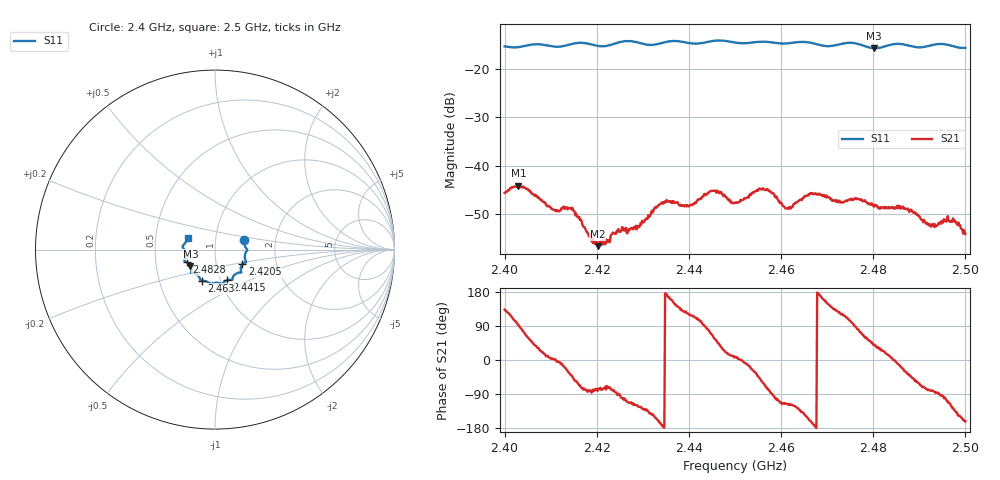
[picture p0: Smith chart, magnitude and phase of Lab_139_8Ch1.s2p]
# Hz S RI R 50
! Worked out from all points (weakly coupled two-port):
!   601 points, 2.4 GHz to 2.5 GHz, reference 50 ohm
!   highest |S21| = -44.12 dB at 2.403 GHz (marker M1); lowest = -56.7 dB at 2.4202 GHz (marker M2)
!   lowest |S11| = -15.7 dB at 2.4802 GHz (marker M3), VSWR 1.39, Z = 37.4 - j6.97 ohm
!   |S11| at or under -10 dB: start of sweep to end of sweep
!   S12 and S22 are empty: the file has one direction only
!   S11 on the Smith chart (normalised r, x): 2.4 GHz: 1.38, +0.15; 2.4205 GHz: 1.34, -0.22; 2.4415 GHz: 1.07, -0.38; 2.463 GHz: 0.82, -0.29; 2.4828 GHz: 0.72, -0.10; 2.5 GHz: 0.73, +0.10
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2.4e9  0.1636 0.0521  -0.00355 0.00385  0 0  0 0
2.403e9  0.1673 0.0188  -0.000191 0.00622  0 0  0 0
2.410833e9  0.1686 -0.0238  0.00345 4.6e-05  0 0  0 0
2.4145e9  0.1704 -0.0614  0.00269 -0.00228  0 0  0 0
2.416667e9  0.173 -0.07  0.000794 -0.00259  0 0  0 0
2.420167e9  0.1544 -0.0796  0.000222 -0.00145  0 0  0 0
2.4205e9  0.1521 -0.0816  0.000412 -0.00156  0 0  0 0
2.429167e9  0.1363 -0.1274  -0.00129 -0.00193  0 0  0 0
2.433333e9  0.1003 -0.1516  -0.00359 -0.00134  0 0  0 0
2.4415e9  0.0657 -0.1707  -0.00147 0.00381  0 0  0 0
2.445333e9  0.0425 -0.1909  0.00273 0.00479  0 0  0 0
2.45e9  0.0242 -0.1864  0.0041 0.000632  0 0  0 0
2.455667e9  -0.0201 -0.1906  0.00332 -0.00463  0 0  0 0
2.461167e9  -0.0577 -0.1749  -0.00154 -0.00325  0 0  0 0
2.463e9  -0.0722 -0.1737  -0.00213 -0.00352  0 0  0 0
2.466667e9  -0.0821 -0.167  -0.00492 -0.00129  0 0  0 0
2.480167e9  -0.1367 -0.0907  0.00285 0.00245  0 0  0 0
2.482833e9  -0.1585 -0.07  0.00356 0.00106  0 0  0 0
2.483333e9  -0.1624 -0.0681  0.00365 0.000839  0 0  0 0
2.492333e9  -0.1749 0.00438  0.000393 -0.00239  0 0  0 0
2.4975e9  -0.1679 0.034  -0.00178 -0.00208  0 0  0 0
2.5e9  -0.1527 0.0645  -0.00186 -0.000606  0 0  0 0
